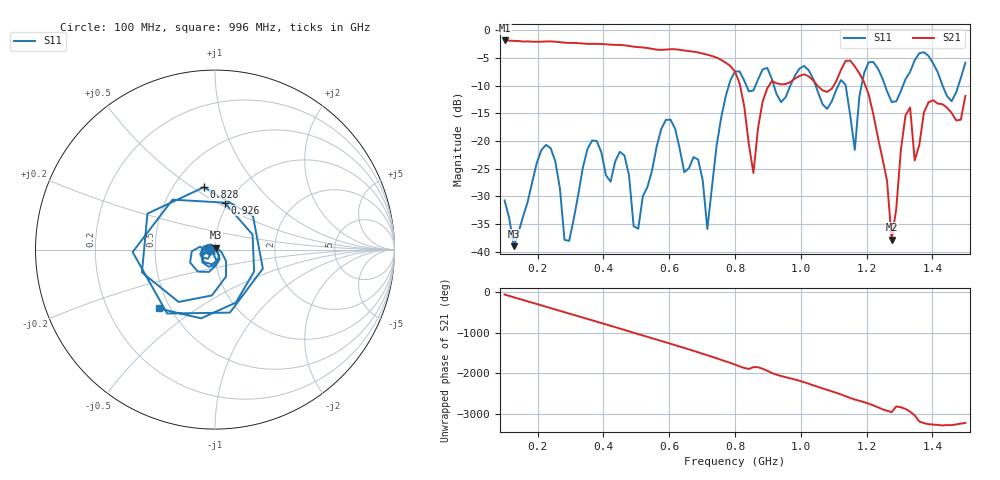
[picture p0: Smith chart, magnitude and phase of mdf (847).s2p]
! NanoVNA-App
! Date: 2025-09-25 15:45:01
! Start: 100MHz Stop: 1,5GHz Points: 101
! S-Parameter data: F S11 S21 S12 S22
# Hz S RI R 50
!  Frequency  S11_Real  S11_Imag  S21_Real  S21_Imag  S12_Real  S12_Imag  S22_Real  S22_Imag
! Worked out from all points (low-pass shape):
!   101 points, 100 MHz to 1.5 GHz, reference 50 ohm
!   highest |S21| = -1.80 dB at 100 MHz (marker M1); lowest = -37.8 dB at 1.276 GHz (marker M2)
!   |S21| within 3 dB of the highest: start of sweep to 739.3 MHz
!   lowest |S11| = -39.0 dB at 128 MHz (marker M3), VSWR 1.02, Z = 50.3 + j1.08 ohm
!   |S11| at or under -10 dB: start of sweep to 781 MHz; 1.045 GHz to 1.114 GHz (68.26 MHz wide, 6.32 % of centre); 1.256 GHz to 1.31 GHz (54.05 MHz wide, 4.21 % of centre) (the widest 3 of 7)
!   S12 and S22 are empty: the file has one direction only
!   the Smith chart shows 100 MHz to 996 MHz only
!   S11 on the Smith chart (normalised r, x): 100 MHz: 0.94, -0.01; 828 MHz: 0.70, +0.56; 926 MHz: 0.96, +0.54; 996 MHz: 0.43, -0.36
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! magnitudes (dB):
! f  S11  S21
! 100 MHz  -30.7  -1.8
! 128 MHz  -39.0  -1.9
! 212 MHz  -21.6  -2.0
! 282 MHz  -37.8  -2.2
! 338 MHz  -24.7  -2.3
! 464 MHz  -22.6  -2.7
! 506 MHz  -35.8  -3.0
! 576 MHz  -17.8  -3.5
! 688 MHz  -23.3  -4.0
! 716 MHz  -35.9  -4.4
! 800 MHz  -7.4  -7.4
! 828 MHz  -9.0  -13.7
! 856 MHz  -10.8  -25.8
! 926 MHz  -11.5  -9.5
! 996 MHz  -6.9  -8.2
! 1.038 GHz  -8.8  -9.1
! 1.136 GHz  -9.8  -5.5
! 1.164 GHz  -21.6  -6.5
! 1.192 GHz  -7.8  -9.3
! 1.276 GHz  -12.9  -37.8
! 1.318 GHz  -8.8  -15.3
! 1.5 GHz  -5.8  -11.8
